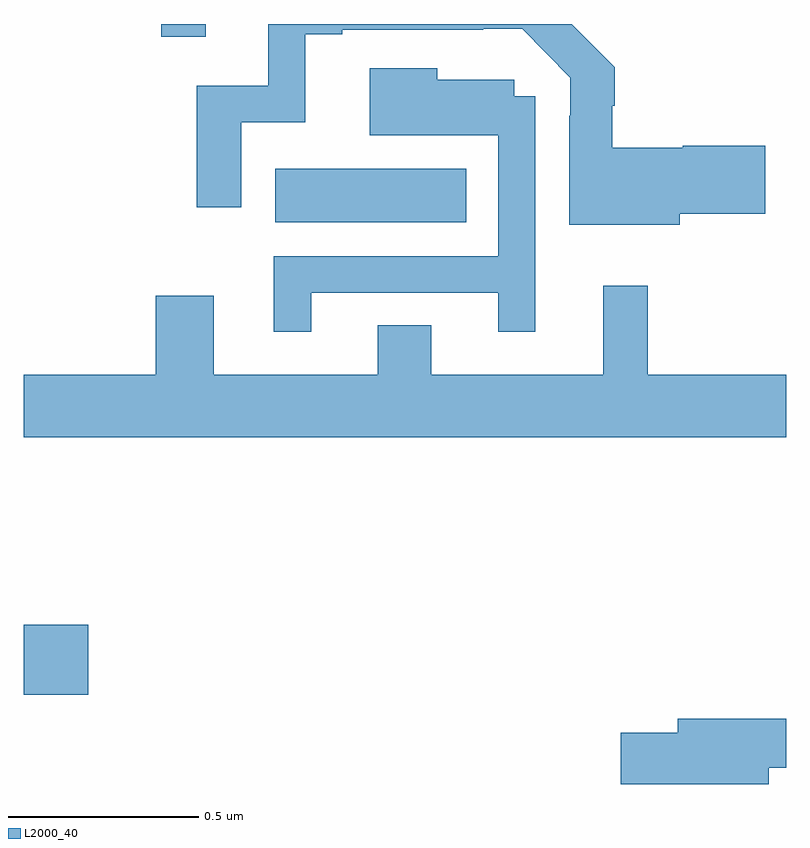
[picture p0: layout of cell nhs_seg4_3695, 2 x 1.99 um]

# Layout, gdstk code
import gdstk
lib = gdstk.Library(unit=1e-6, precision=1e-09)
def R(c, l, rs):  # rectangles x0, y0, x1, y1
    for r in rs: c.add(gdstk.rectangle(r[:2], r[2:], *l))
def P(c, l, *ps):  # polygons
    for p in ps: c.add(gdstk.Polygon(p, *l))
L2000_40 = (2000, 40)

nhs_seg4_3695 = lib.new_cell('nhs_seg4_3695')
R(nhs_seg4_3695, L2000_40, [(156,800.141,156.169,800.324), (156.66,801.38,157.16,801.52), (156.361,801.867,156.478,801.9)])
P(nhs_seg4_3695, L2000_40, [(157.72,801.403),(157.945,801.403),(157.945,801.581),(157.728,801.581),(157.728,801.576),(157.543,801.576),(157.543,801.686),(157.55,801.686),(157.55,801.787),(157.437,801.9),(156.641,801.9),(156.641,801.738),(156.454,801.738),(156.454,801.42),(156.57,801.42),(156.57,801.642),(156.739,801.642),(156.739,801.873),(156.835,801.873),(156.835,801.885),(157.205,801.885),(157.205,801.887),(157.307,801.887),(157.434,801.759),(157.434,801.659),(157.431,801.659),(157.431,801.374),(157.72,801.374)],
  [(156.754,801.195),(157.244,801.195),(157.244,801.093),(157.341,801.093),(157.341,801.711),(157.287,801.711),(157.287,801.754),(157.084,801.754),(157.084,801.784),(156.908,801.784),(156.908,801.608),(157.245,801.608),(157.245,801.291),(156.656,801.291),(156.656,801.093),(156.754,801.093)],
  [(158,800.98),(157.637,800.98),(157.637,801.214),(157.52,801.214),(157.52,800.98),(157.069,800.98),(157.069,801.11),(156.929,801.11),(156.929,800.98),(156.499,800.98),(156.499,801.187),(156.347,801.187),(156.347,800.98),(156,800.98),(156,800.816),(158,800.816)],
  [(157.954,799.95),(158,799.95),(158,800.078),(157.715,800.078),(157.715,800.042),(157.566,800.042),(157.566,799.907),(157.954,799.907)])

lib.write_gds('nhs_seg4_3695.gds')
